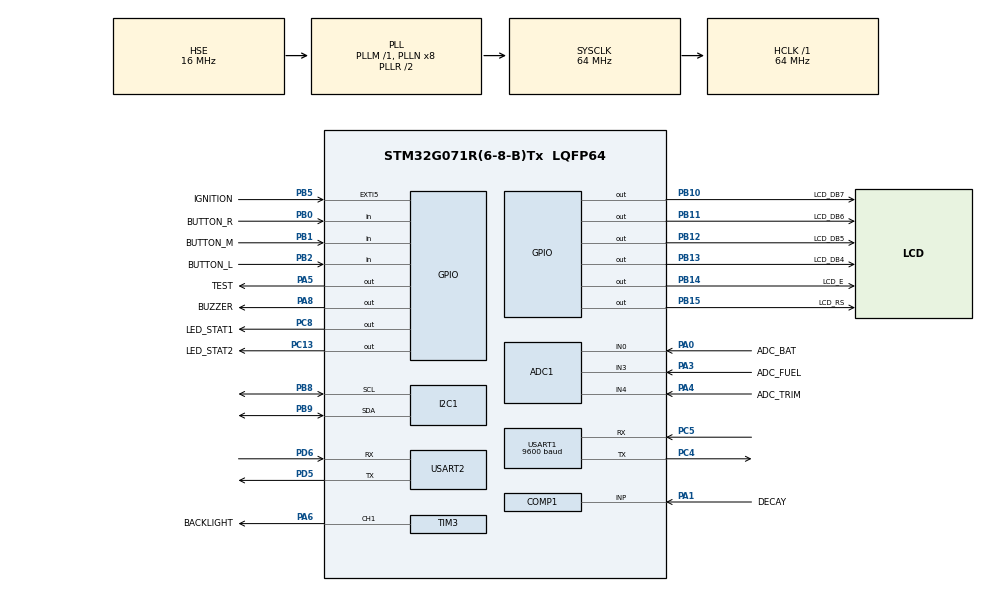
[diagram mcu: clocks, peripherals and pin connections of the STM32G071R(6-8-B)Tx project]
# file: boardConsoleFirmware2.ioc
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ADC1.Channel-0\#ChannelRegularConversion=ADC_CHANNEL_0
ADC1.Channel-1\#ChannelRegularConversion=ADC_CHANNEL_3
ADC1.Channel-2\#ChannelRegularConversion=ADC_CHANNEL_4
ADC1.Channel-3\#ChannelRegularConversion=ADC_CHANNEL_TEMPSENSOR
ADC1.ClockPrescaler=ADC_CLOCK_ASYNC_DIV10
ADC1.ContinuousConvMode=ENABLE
ADC1.DMAContinuousRequests=ENABLE
ADC1.EOCSelection=ADC_EOC_SEQ_CONV
ADC1.NbrOfConversion=4
ADC1.NbrOfConversionFlag=1
ADC1.Overrun=ADC_OVR_DATA_OVERWRITTEN
ADC1.OversamplingMode=ENABLE
ADC1.Rank-0\#ChannelRegularConversion=1
ADC1.Rank-1\#ChannelRegularConversion=2
ADC1.Rank-2\#ChannelRegularConversion=3
ADC1.Rank-3\#ChannelRegularConversion=4
ADC1.Ratio=ADC_OVERSAMPLING_RATIO_128
ADC1.RightBitShift=ADC_RIGHTBITSHIFT_7
ADC1.SamplingTime-0\#ChannelRegularConversion=ADC_SAMPLINGTIME_COMMON_1
ADC1.SamplingTime-1\#ChannelRegularConversion=ADC_SAMPLINGTIME_COMMON_1
ADC1.SamplingTime-2\#ChannelRegularConversion=ADC_SAMPLINGTIME_COMMON_1
ADC1.SamplingTime-3\#ChannelRegularConversion=ADC_SAMPLINGTIME_COMMON_1
ADC1.SamplingTimeCommon1=ADC_SAMPLETIME_79CYCLES_5
ADC1.SamplingTimeCommon2=ADC_SAMPLETIME_79CYCLES_5
ADC1.SelectedChannel=ADC_CHANNEL_0|ADC_CHANNEL_3|ADC_CHANNEL_4|ADC_CHANNEL_TEMPSENSOR
ADC1.master=1
COMP1.Hysteresis=COMP_HYSTERESIS_HIGH
COMP1.TriggerMode=COMP_TRIGGERMODE_IT_FALLING
Dma.ADC1.0.Direction=DMA_PERIPH_TO_MEMORY
Dma.ADC1.0.EventEnable=DISABLE
Dma.ADC1.0.Instance=DMA1_Channel1
Dma.ADC1.0.MemDataAlignment=DMA_MDATAALIGN_WORD
Dma.ADC1.0.MemInc=DMA_MINC_ENABLE
Dma.ADC1.0.Mode=DMA_CIRCULAR
Dma.ADC1.0.PeriphDataAlignment=DMA_PDATAALIGN_WORD
Dma.ADC1.0.PeriphInc=DMA_PINC_DISABLE
Dma.ADC1.0.Polarity=HAL_DMAMUX_REQ_GEN_RISING
Dma.ADC1.0.Priority=DMA_PRIORITY_LOW
Dma.ADC1.0.RequestNumber=1
Dma.ADC1.0.SignalID=NONE
Dma.ADC1.0.SyncEnable=DISABLE
Dma.ADC1.0.SyncPolarity=HAL_DMAMUX_SYNC_NO_EVENT
Dma.ADC1.0.SyncRequestNumber=1
Dma.ADC1.0.SyncSignalID=NONE
Dma.Request0=ADC1
I2C1.Timing=0x10707DBC
Mcu.Family=STM32G0
Mcu.Name=STM32G071R(6-8-B)Tx
Mcu.Package=LQFP64
NVIC.ADC1_COMP_IRQn=true\:0\:0\:false\:false\:true\:true\:true\:true
NVIC.DMA1_Channel1_IRQn=true\:0\:0\:false\:false\:true\:false\:true\:true
NVIC.EXTI4_15_IRQn=true\:0\:0\:false\:false\:true\:true\:true\:true
NVIC.TIM16_IRQn=true\:0\:0\:false\:false\:true\:true\:true\:true
NVIC.TIM2_IRQn=true\:0\:0\:false\:false\:true\:true\:true\:true
NVIC.TIM6_DAC_LPTIM1_IRQn=true\:0\:0\:false\:false\:true\:true\:true\:true
NVIC.TIM7_LPTIM2_IRQn=true\:3\:0\:false\:false\:true\:false\:true\:true
NVIC.TimeBase=TIM7_LPTIM2_IRQn
NVIC.TimeBaseIP=TIM7
NVIC.USART1_IRQn=true\:0\:0\:false\:false\:true\:true\:true\:true
PA0.GPIO_Label=ADC_BAT
PA0.Mode=IN0
PA0.Signal=ADC1_IN0
PA1.GPIO_Label=DECAY
PA1.Mode=INP
PA1.Signal=COMP1_INP
PA13.Mode=Serial_Wire
PA13.Signal=SYS_SWDIO
PA14-BOOT0.Mode=Serial_Wire
PA14-BOOT0.Signal=SYS_SWCLK
PA3.GPIO_Label=ADC_FUEL
PA3.Mode=IN3
PA3.Signal=ADC1_IN3
PA4.GPIO_Label=ADC_TRIM
PA4.Mode=IN4
PA4.Signal=ADC1_IN4
PA5.GPIO_Label=TEST
PA5.Signal=GPIO_Output
PA6.GPIO_Label=BACKLIGHT
PA6.Signal=S_TIM3_CH1
PA8.GPIO_Label=BUZZER
PA8.Signal=GPIO_Output
PB0.GPIO_Label=BUTTON_R
PB0.Signal=GPIO_Input
PB1.GPIO_Label=BUTTON_M
PB1.Signal=GPIO_Input
PB10.GPIO_Label=LCD_DB7
PB10.Signal=GPIO_Output
PB11.GPIO_Label=LCD_DB6
PB11.Signal=GPIO_Output
PB12.GPIO_Label=LCD_DB5
PB12.Signal=GPIO_Output
PB13.GPIO_Label=LCD_DB4
PB13.Signal=GPIO_Output
PB14.GPIO_Label=LCD_E
PB14.Signal=GPIO_Output
PB15.GPIO_Label=LCD_RS
PB15.Signal=GPIO_Output
PB2.GPIO_Label=BUTTON_L
PB2.Signal=GPIO_Input
PB5.GPIO_Label=IGNITION
PB5.GPIO_ModeDefaultEXTI=GPIO_MODE_IT_RISING_FALLING
PB5.Signal=GPXTI5
PB8.Mode=I2C
PB8.Signal=I2C1_SCL
PB9.Mode=I2C
PB9.Signal=I2C1_SDA
PC13.GPIO_Label=LED_STAT2
PC13.Signal=GPIO_Output
PC14-OSC32_IN\ (PC14).Mode=LSE-External-Oscillator
PC14-OSC32_IN\ (PC14).Signal=RCC_OSC32_IN
PC15-OSC32_OUT\ (PC15).Mode=LSE-External-Oscillator
PC15-OSC32_OUT\ (PC15).Signal=RCC_OSC32_OUT
PC4.Mode=Asynchronous
PC4.Signal=USART1_TX
PC5.Mode=Asynchronous
PC5.Signal=USART1_RX
PC8.GPIO_Label=LED_STAT1
PC8.Signal=GPIO_Output
PD5.Mode=Asynchronous
PD5.Signal=USART2_TX
PD6.Mode=Asynchronous
PD6.Signal=USART2_RX
PF0-OSC_IN\ (PF0).Mode=HSE-External-Oscillator
PF0-OSC_IN\ (PF0).Signal=RCC_OSC_IN
PF1-OSC_OUT\ (PF1).Mode=HSE-External-Oscillator
PF1-OSC_OUT\ (PF1).Signal=RCC_OSC_OUT
ProjectManager.HeapSize=0x200
ProjectManager.StackSize=0x400
ProjectManager.TargetToolchain=STM32CubeIDE
RCC.ADCFreq_Value=64000000
RCC.AHBFreq_Value=64000000
RCC.CortexFreq_Value=64000000
RCC.EXTERNAL_CLOCK_VALUE=48000
RCC.HCLKFreq_Value=64000000
RCC.HSE_VALUE=16000000
RCC.HSI_VALUE=16000000
RCC.PLLSourceVirtual=RCC_PLLSOURCE_HSE
RCC.SYSCLKFreq_VALUE=64000000
RCC.SYSCLKSource=RCC_SYSCLKSOURCE_PLLCLK
RCC.VCOOutputFreq_Value=128000000
SH.S_TIM3_CH1.0=TIM3_CH1,PWM Generation1 CH1
TIM16.AutoReloadPreload=TIM_AUTORELOAD_PRELOAD_ENABLE
TIM16.Period=19999
TIM16.Prescaler=3199
TIM17.Prescaler=63
TIM2.Period=350000
TIM2.Prescaler=63
TIM3.AutoReloadPreload=TIM_AUTORELOAD_PRELOAD_ENABLE
TIM3.Channel-PWM\ Generation1\ CH1=TIM_CHANNEL_1
TIM3.Period=100
TIM3.Prescaler=2899
TIM6.Period=499
TIM6.Prescaler=3199
USART1.BaudRate=9600
USART1.OverrunDisableParam=ADVFEATURE_OVERRUN_DISABLE
USART1.SwapParam=ADVFEATURE_SWAP_DISABLE
USART1.VirtualMode-Asynchronous=VM_ASYNC
USART2.VirtualMode-Asynchronous=VM_ASYNC
VP_ADC1_TempSens_Input.Mode=IN-TempSens
VP_COMP1_VS_VREFINT.Mode=VREFINT
VP_SYS_VS_DBSignals.Mode=DisableDeadBatterySignals
VP_SYS_VS_tim7.Mode=TIM7
VP_TIM16_VS_ClockSourceINT.Mode=Enable_Timer
VP_TIM17_VS_ClockSourceINT.Mode=Enable_Timer
VP_TIM2_VS_ClockSourceINT.Mode=Internal
VP_TIM3_VS_ClockSourceINT.Mode=Internal
VP_TIM6_VS_ClockSourceINT.Mode=Enable_Timer
board=custom

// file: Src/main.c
/* USER CODE BEGIN Header */
/**
 ******************************************************************************
 * @file           : main.c
 * @brief          : Main program body
 ******************************************************************************
 * @attention
 *
 * Copyright (c) 2023 STMicroelectronics.
 * All rights reserved.
 *
 * This software is licensed under terms that can be found in the LICENSE file
 * in the root directory of this software component.
 * If no LICENSE file comes with this software, it is provided AS-IS.
 *
 ******************************************************************************
 */
/* USER CODE END Header */
#include "main.h"
#include "adc.h"
#include "comp.h"
#include "dma.h"
#include "i2c.h"
#include "tim.h"
#include "usart.h"
#include "gpio.h"

/* USER CODE BEGIN Includes */
#include "boardConsole/interrupts.h"
/* USER CODE END Includes */

void SystemClock_Config(void);

int main(void)
{

  /* MCU Configuration--------------------------------------------------------*/

  /* Reset of all peripherals, Initializes the Flash interface and the Systick. */
  HAL_Init();

  /* Configure the system clock */
  SystemClock_Config();

  /* Initialize all configured peripherals */
  MX_GPIO_Init();
  MX_DMA_Init();
  MX_USART1_UART_Init();
  MX_ADC1_Init();
  MX_COMP1_Init();
  MX_I2C1_Init();
  MX_TIM2_Init();
  MX_USART2_UART_Init();
  MX_TIM17_Init();
  MX_TIM3_Init();
  MX_TIM16_Init();
  MX_TIM6_Init();
  /* USER CODE BEGIN 2 */

	boardComputer_process();

  /* USER CODE END 2 */

  /* Infinite loop */
	while (1) {

	}
}

void SystemClock_Config(void)
{
  RCC_OscInitTypeDef RCC_OscInitStruct = {0};
  RCC_ClkInitTypeDef RCC_ClkInitStruct = {0};

  /** Configure the main internal regulator output voltage
  */
  HAL_PWREx_ControlVoltageScaling(PWR_REGULATOR_VOLTAGE_SCALE1);

  /** Initializes the RCC Oscillators according to the specified parameters
  * in the RCC_OscInitTypeDef structure.
  */
  RCC_OscInitStruct.OscillatorType = RCC_OSCILLATORTYPE_HSE;
  RCC_OscInitStruct.HSEState = RCC_HSE_ON;
  RCC_OscInitStruct.PLL.PLLState = RCC_PLL_ON;
  RCC_OscInitStruct.PLL.PLLSource = RCC_PLLSOURCE_HSE;
  RCC_OscInitStruct.PLL.PLLM = RCC_PLLM_DIV1;
  RCC_OscInitStruct.PLL.PLLN = 8;
  RCC_OscInitStruct.PLL.PLLP = RCC_PLLP_DIV2;
  RCC_OscInitStruct.PLL.PLLQ = RCC_PLLQ_DIV2;
  RCC_OscInitStruct.PLL.PLLR = RCC_PLLR_DIV2;
  if (HAL_RCC_OscConfig(&RCC_OscInitStruct) != HAL_OK)
  {
    Error_Handler();
  }

  /** Initializes the CPU, AHB and APB buses clocks
  */
  RCC_ClkInitStruct.ClockType = RCC_CLOCKTYPE_HCLK|RCC_CLOCKTYPE_SYSCLK
                              |RCC_CLOCKTYPE_PCLK1;
  RCC_ClkInitStruct.SYSCLKSource = RCC_SYSCLKSOURCE_PLLCLK;
  RCC_ClkInitStruct.AHBCLKDivider = RCC_SYSCLK_DIV1;
  RCC_ClkInitStruct.APB1CLKDivider = RCC_HCLK_DIV1;

  if (HAL_RCC_ClockConfig(&RCC_ClkInitStruct, FLASH_LATENCY_2) != HAL_OK)
  {
    Error_Handler();
  }
}

/* USER CODE BEGIN 4 */
/*-----------------------------------------------------------*/

/* configUSE_STATIC_ALLOCATION is set to 1, so the application must provide an
 * implementation of vApplicationGetIdleTaskMemory() to provide the memory that is
 * used by the Idle task. */
void vApplicationGetIdleTaskMemory(StaticTask_t **ppxIdleTaskTCBBuffer,
		StackType_t **ppxIdleTaskStackBuffer, uint32_t *pulIdleTaskStackSize) {
	/* If the buffers to be provided to the Idle task are declared inside this
	 * function then they must be declared static - otherwise they will be allocated on
	 * the stack and so not exists after this function exits. */
	static StaticTask_t xIdleTaskTCB;
	static StackType_t uxIdleTaskStack[configMINIMAL_STACK_SIZE];

	/* Pass out a pointer to the StaticTask_t structure in which the Idle task's
	 * state will be stored. */
	*ppxIdleTaskTCBBuffer = &xIdleTaskTCB;

	/* Pass out the array that will be used as the Idle task's stack. */
	*ppxIdleTaskStackBuffer = uxIdleTaskStack;

	/* Pass out the size of the array pointed to by *ppxIdleTaskStackBuffer.
	 * Note that, as the array is necessarily of type StackType_t,
	 * configMINIMAL_STACK_SIZE is specified in words, not bytes. */
	*pulIdleTaskStackSize = configMINIMAL_STACK_SIZE;
}
/*-----------------------------------------------------------*/

/* configUSE_STATIC_ALLOCATION and configUSE_TIMERS are both set to 1, so the
 * application must provide an implementation of vApplicationGetTimerTaskMemory()
 * to provide the memory that is used by the Timer service task. */
void vApplicationGetTimerTaskMemory(StaticTask_t **ppxTimerTaskTCBBuffer,
		StackType_t **ppxTimerTaskStackBuffer, uint32_t *pulTimerTaskStackSize) {
	/* If the buffers to be provided to the Timer task are declared inside this
	 * function then they must be declared static - otherwise they will be
	 * allocated on the stack and so not exists after this function exits. */
	static StaticTask_t xTimerTaskTCB;
	static StackType_t uxTimerTaskStack[configTIMER_TASK_STACK_DEPTH];

	/* Pass out a pointer to the StaticTask_t structure in which the Timer
	 * task's state will be stored. */
	*ppxTimerTaskTCBBuffer = &xTimerTaskTCB;

	/* Pass out the array that will be used as the Timer task's stack. */
	*ppxTimerTaskStackBuffer = uxTimerTaskStack;

	/* Pass out the size of the array pointed to by *ppxTimerTaskStackBuffer.
	 * Note that, as the array is necessarily of type StackType_t,
	 * configMINIMAL_STACK_SIZE is specified in words, not bytes. */
	*pulTimerTaskStackSize = configTIMER_TASK_STACK_DEPTH;
}
/*-----------------------------------------------------------*/
/* USER CODE END 4 */

void HAL_TIM_PeriodElapsedCallback(TIM_HandleTypeDef *htim)
{
  if (htim->Instance == TIM7) {
    HAL_IncTick();
  }
  /* USER CODE BEGIN Callback 1 */
	periodElapsedCallback(htim);
  /* USER CODE END Callback 1 */
}

void Error_Handler(void)
{
	__disable_irq();
	while (1) {
	}
}
